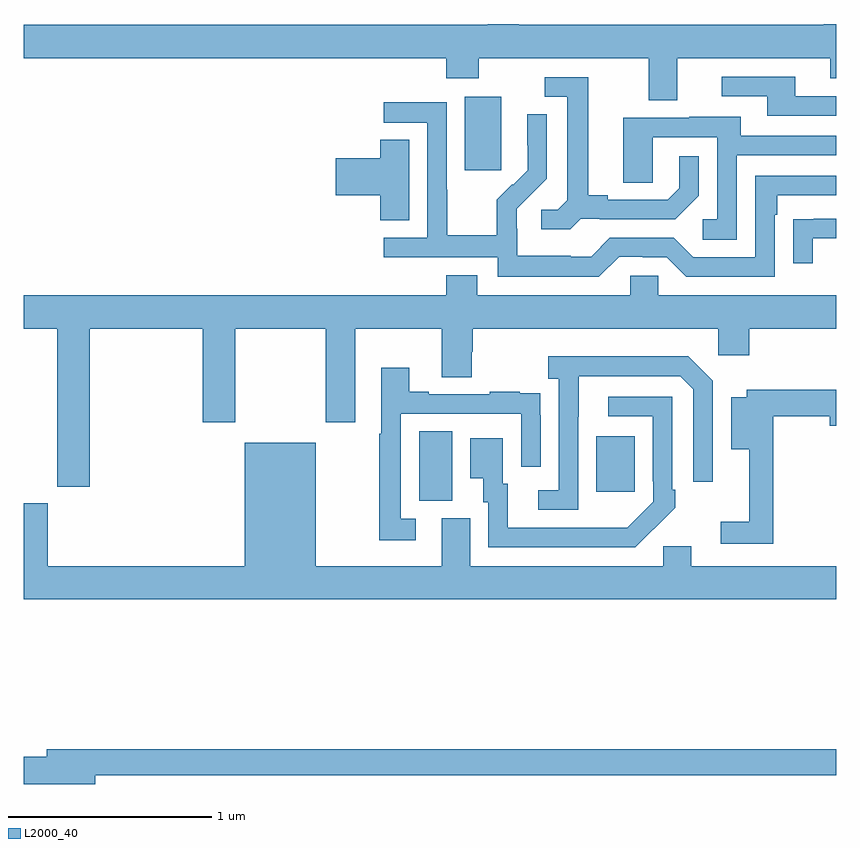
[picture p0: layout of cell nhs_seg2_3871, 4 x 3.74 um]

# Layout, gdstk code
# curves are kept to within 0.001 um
import gdstk
lib = gdstk.Library(unit=1e-6, precision=1e-09)
def R(c, l, rs):  # rectangles x0, y0, x1, y1
    for r in rs: c.add(gdstk.rectangle(r[:2], r[2:], *l))
def P(c, l, *ps):  # polygons
    for p in ps: c.add(gdstk.Polygon(p, *l))
L2000_40 = (2000, 40)

nhs_seg2_3871 = lib.new_cell('nhs_seg2_3871')
R(nhs_seg2_3871, L2000_40, [(316.946,649.453,317.11,649.796), (317.819,649.497,318.007,649.771), (317.171,651.081,317.35,651.442)])
P(nhs_seg2_3871, L2000_40, [(317.436,651.8),(317.285,651.8),(317.285,651.796),(315,651.796),(315,651.632),(317.081,651.632),(317.081,651.533),(317.241,651.533),(317.241,651.632),(318.077,651.632),(318.077,651.424),(318.217,651.424),(318.217,651.632),(318.971,651.632),(318.971,651.533),(319,651.533),(319,651.8),(318.938,651.8),(318.938,651.796),(317.436,651.796)],
  [(319,651.444),(318.799,651.444),(318.799,651.54),(318.435,651.54),(318.435,651.444),(318.659,651.444),(318.659,651.348),(319,651.348)],
  [(317.742,650.841),(317.836,650.841),(317.836,650.838),(318.208,650.838),(318.324,650.954),(318.324,651.148),(318.227,651.148),(318.227,650.991),(318.17,650.934),(317.875,650.934),(317.875,650.957),(317.779,650.957),(317.779,651.537),(317.565,651.537),(317.565,651.441),(317.675,651.441),(317.675,650.933),(317.628,650.886),(317.547,650.886),(317.547,650.789),(317.69,650.789)],
  [(317.931,650.655),(318.047,650.655),(318.047,650.652),(318.165,650.652),(318.261,650.556),(318.696,650.556),(318.696,650.861),(318.709,650.861),(318.709,650.958),(319,650.958),(319,651.054),(318.6,651.054),(318.6,650.652),(318.297,650.652),(318.201,650.748),(317.886,650.748),(317.793,650.655),(317.693,650.655),(317.693,650.659),(317.43,650.659),(317.43,650.793),(317.428,650.793),(317.428,650.89),(317.574,651.038),(317.574,651.356),(317.478,651.356),(317.478,651.202),(317.48,651.202),(317.48,651.08),(317.409,651.009),(317.406,651.012),(317.329,650.935),(317.329,650.761),(317.085,650.761),(317.085,650.984),(317.082,650.984),(317.082,651.414),(316.773,651.414),(316.773,651.315),(316.986,651.315),(316.986,650.748),(316.773,650.748),(316.773,650.652),(317.334,650.652),(317.334,650.555),(317.831,650.555)],
  [(318.51,651.153),(319,651.153),(319,651.249),(318.529,651.249),(318.529,651.343),(318.275,651.343),(318.275,651.339),(317.951,651.339),(317.951,651.019),(318.096,651.019),(318.096,651.243),(318.414,651.243),(318.414,650.838),(318.342,650.838),(318.342,650.737),(318.51,650.737)],
  [(316.897,651.23),(316.754,651.23),(316.754,651.14),(316.536,651.14),(316.536,650.957),(316.754,650.957),(316.754,650.833),(316.897,650.833)],
  [(318.883,650.745),(319,650.745),(319,650.841),(318.889,650.841),(318.889,650.84),(318.787,650.84),(318.787,650.622),(318.883,650.622)],
  [(315.326,650.3),(315.881,650.3),(315.881,649.839),(316.041,649.839),(316.041,650.3),(316.486,650.3),(316.486,649.839),(316.633,649.839),(316.633,650.3),(317.057,650.3),(317.057,650.062),(317.205,650.062),(317.205,650.187),(317.21,650.187),(317.21,650.3),(318.42,650.3),(318.42,650.169),(318.572,650.169),(318.572,650.3),(319,650.3),(319,650.464),(318.123,650.464),(318.123,650.562),(317.985,650.562),(317.985,650.464),(317.233,650.464),(317.233,650.563),(317.081,650.563),(317.081,650.464),(315,650.464),(315,650.3),(315.166,650.3),(315.166,649.521),(315.326,649.521)],
  [(317.73,649.867),(317.731,650.067),(318.231,650.067),(318.297,650.001),(318.297,649.548),(318.393,649.548),(318.393,650.043),(318.272,650.164),(317.583,650.164),(317.583,650.054),(317.634,650.054),(317.634,649.506),(317.532,649.506),(317.532,649.41),(317.73,649.41)],
  [(316.93,649.365),(316.857,649.365),(316.857,649.881),(317.448,649.881),(317.448,649.62),(317.544,649.62),(317.544,649.874),(317.543,649.874),(317.543,649.983),(317.441,649.983),(317.441,649.99),(317.293,649.99),(317.293,649.977),(316.993,649.977),(316.993,649.99),(316.897,649.99),(316.897,650.107),(316.761,650.107),(316.761,649.784),(316.749,649.784),(316.749,649.26),(316.93,649.26)],
  [(318.689,649.87),(318.968,649.87),(318.968,649.823),(319,649.823),(319,649.999),(318.558,649.999),(318.558,649.963),(318.482,649.963),(318.482,649.706),(318.572,649.706),(318.572,649.351),(318.432,649.351),(318.432,649.242),(318.689,649.242)],
  [(318.101,649.315),(318.102,649.314),(318.207,649.419),(318.207,649.507),(318.192,649.507),(318.192,649.965),(317.877,649.965),(317.877,649.869),(318.096,649.869),(318.096,649.549),(318.099,649.549),(318.099,649.449),(317.971,649.321),(317.383,649.32),(317.383,649.536),(317.359,649.536),(317.359,649.762),(317.198,649.762),(317.198,649.565),(317.261,649.565),(317.261,649.446),(317.286,649.446),(317.286,649.224),(318.01,649.224)],
  [(319,649.132),(318.286,649.132),(318.286,649.23),(318.147,649.23),(318.147,649.132),(317.197,649.132),(317.197,649.368),(317.057,649.368),(317.057,649.132),(316.438,649.132),(316.438,649.738),(316.088,649.738),(316.088,649.132),(315.118,649.132),(315.118,649.441),(315,649.441),(315,648.968),(319,648.968)],
  [(315.352,648.102),(319,648.102),(319,648.23),(315.113,648.23),(315.113,648.194),(315,648.194),(315,648.059),(315.352,648.059)])

lib.write_gds('nhs_seg2_3871.gds')
